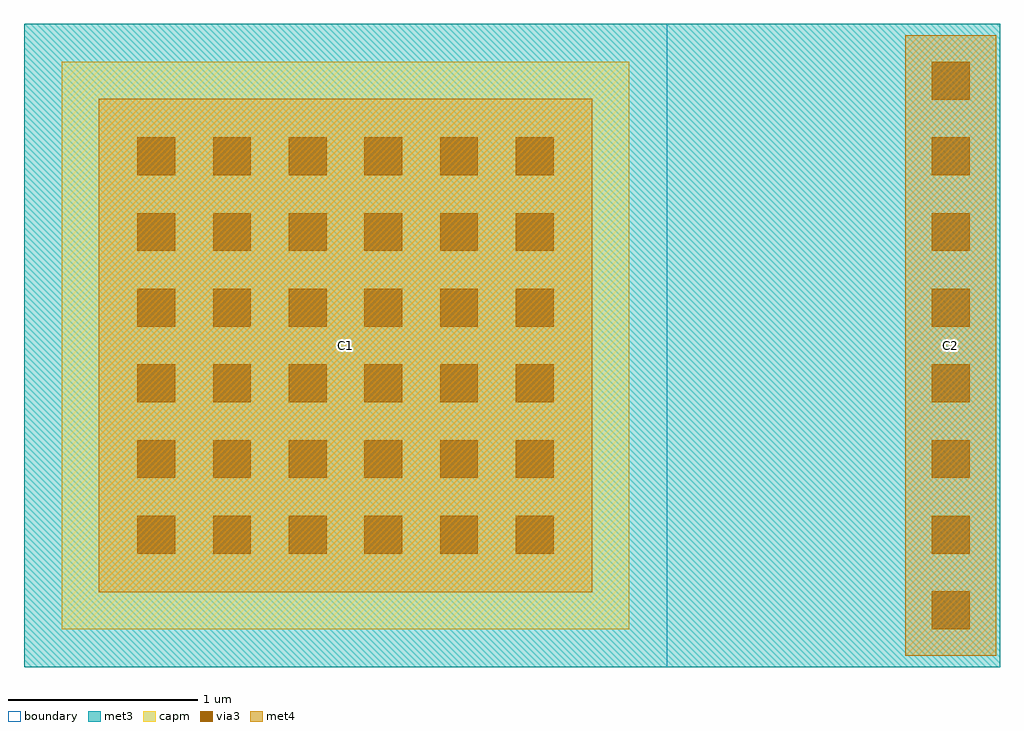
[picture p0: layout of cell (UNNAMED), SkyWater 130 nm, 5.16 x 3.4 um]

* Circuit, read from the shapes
.subckt (UNNAMED) C1 C2
XC1 C1 C2 sky130_fd_pr__cap_mim_m3_1 w=3 l=3
.ends

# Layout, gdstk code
import gdstk
lib = gdstk.Library(unit=1e-6, precision=1e-09)
def R(c, l, rs):  # rectangles x0, y0, x1, y1
    for r in rs: c.add(gdstk.rectangle(r[:2], r[2:], *l))
def A(c, l, x, y, w, h, nx, ny, dx, dy):  # array of equal rectangles
    R(c, l, [(x+i*dx, y+j*dy, x+i*dx+w, y+j*dy+h) for i in range(nx) for j in range(ny)])
met3 = (70, 20)
via3 = (70, 44)
met4 = (71, 20)
capm = (89, 44)
boundary = (235, 4)

c__unnamed_ = lib.new_cell('(UNNAMED)')
R(c__unnamed_, met3, [(-2.58,-1.7,2.58,1.7)])
A(c__unnamed_, via3, 2.22, -1.5, 0.2, 0.2, 1, 8, 0, 0.4)
A(c__unnamed_, via3, -1.98, -1.1, 0.2, 0.2, 6, 6, 0.4, 0.4)
R(c__unnamed_, met4, [(2.08,-1.64,2.56,1.64), (-2.185,-1.305,0.425,1.305)])
R(c__unnamed_, capm, [(-2.38,-1.5,0.62,1.5)])
R(c__unnamed_, boundary, [(-2.58,-1.7,0.82,1.7)])
c__unnamed_.add(gdstk.Label('C2', (2.32,0), layer=71, texttype=5))
c__unnamed_.add(gdstk.Label('C1', (-0.88,0), layer=71, texttype=5))

lib.write_gds('_UNNAMED_.gds')
